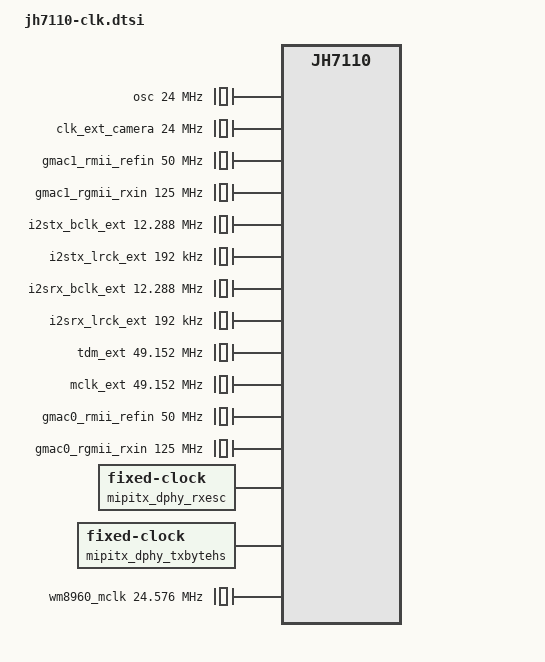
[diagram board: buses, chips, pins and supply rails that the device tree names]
// SPDX-License-Identifier: GPL-2.0 OR MIT
/*
 * Copyright (C) 2022 StarFive Technology Co., Ltd.
 */

/ {
	osc: osc {
		compatible = "fixed-clock";
		#clock-cells = <0>;
		clock-frequency = <24000000>;
	};

	clk_ext_camera: clk-ext-camera {
		compatible = "fixed-clock";
		#clock-cells = <0>;
		clock-frequency = <24000000>;
	};

	gmac1_rmii_refin: gmac1_rmii_refin {
		compatible = "fixed-clock";
		#clock-cells = <0>;
		clock-frequency = <50000000>;
	};

	gmac1_rgmii_rxin: gmac1_rgmii_rxin {
		compatible = "fixed-clock";
		#clock-cells = <0>;
		clock-frequency = <125000000>;
	};

	i2stx_bclk_ext: i2stx_bclk_ext {
		compatible = "fixed-clock";
		#clock-cells = <0>;
		clock-frequency = <12288000>;
	};

	i2stx_lrck_ext: i2stx_lrck_ext {
		compatible = "fixed-clock";
		#clock-cells = <0>;
		clock-frequency = <192000>;
	};

	i2srx_bclk_ext: i2srx_bclk_ext {
		compatible = "fixed-clock";
		#clock-cells = <0>;
		clock-frequency = <12288000>;
	};

	i2srx_lrck_ext: i2srx_lrck_ext {
		compatible = "fixed-clock";
		#clock-cells = <0>;
		clock-frequency = <192000>;
	};

	tdm_ext: tdm_ext {
		compatible = "fixed-clock";
		#clock-cells = <0>;
		clock-frequency = <49152000>;
	};

	mclk_ext: mclk_ext {
		compatible = "fixed-clock";
		#clock-cells = <0>;
		clock-frequency = <49152000>;
	};

	jtag_tck_inner: jtag_tck_inner {
		compatible = "fixed-clock";
		#clock-cells = <0>;
		clock-frequency = <50000000>;
	};

	bist_apb: bist_apb {
		compatible = "fixed-clock";
		#clock-cells = <0>;
		clock-frequency = <50000000>;
	};

	stg_apb: stg_apb {
		compatible = "fixed-clock";
		#clock-cells = <0>;
		clock-frequency = <51200000>;
	};

	gmac0_rmii_refin: gmac0_rmii_refin {
		compatible = "fixed-clock";
		#clock-cells = <0>;
		clock-frequency = <50000000>;
	};

	gmac0_rgmii_rxin: gmac0_rgmii_rxin {
		compatible = "fixed-clock";
		#clock-cells = <0>;
		clock-frequency = <125000000>;
	};

	clk_rtc: clk_rtc {
		compatible = "fixed-clock";
		#clock-cells = <0>;
		clock-frequency = <32768>;
	};

	hdmitx0_pixelclk: hdmitx0_pixelclk {
		compatible = "fixed-clock";
		#clock-cells = <0>;
		clock-frequency = <297000000>;
	};

	mipitx_dphy_rxesc: mipitx_dphy_rxesc {
		compatible = "fixed-clock";
		#clock-cells = <0>;
		clock-frequency = <10000000>;
	};

	mipitx_dphy_txbytehs: mipitx_dphy_txbytehs {
		compatible = "fixed-clock";
		#clock-cells = <0>;
		clock-frequency = <297000000>;
	};

	wm8960_mclk: wm8960_mclk {
		compatible = "fixed-clock";
		#clock-cells = <0>;
		clock-frequency = <24576000>;
	};
};
